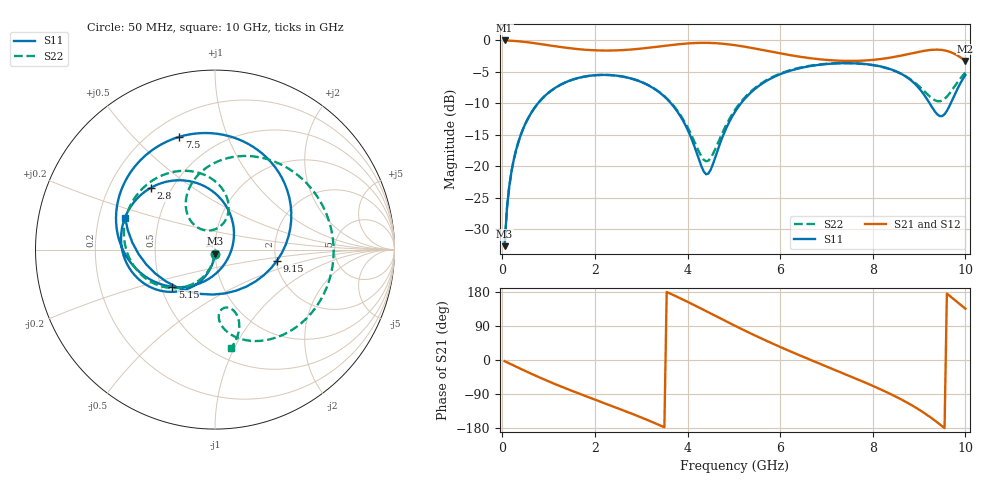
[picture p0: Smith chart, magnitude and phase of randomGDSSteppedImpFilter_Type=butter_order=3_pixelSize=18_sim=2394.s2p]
! freq	dB(S11)	phase(S11)	dB(S12)	phase(S12)
!  dB(S21)	phase(S21)	dB(S22)	phase(S22)
!S-par simulation data
#  GHz  S  DB  R 50
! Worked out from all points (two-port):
!   200 points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, 50 MHz to 10 GHz, reference 50 ohm
!   highest |S21| = -0.01 dB at 50 MHz (marker M1); lowest = -3.3 dB at 10 GHz (marker M2)
!   |S21| within 3 dB of the highest: start of sweep to 6.865 GHz; 8.117 GHz to 9.952 GHz (1.835 GHz wide, 20.3 % of centre)
!   lowest |S11| = -32.7 dB at 50 MHz (marker M3), VSWR 1.05, Z = 49.8 - j2.31 ohm
!   |S11| at or under -10 dB: start of sweep to 770.8 MHz; 3.643 GHz to 5.154 GHz (1.511 GHz wide, 34.4 % of centre); 9.229 GHz to 9.683 GHz (453.6 MHz wide, 4.8 % of centre)
!   |S22| runs from -32.7 to -3.6 dB; largest |S21 - S12| = 0
!   S11 on the Smith chart (normalised r, x): 50 MHz: 1.00, -0.05; 2.8 GHz: 0.38, +0.35; 5.15 GHz: 0.57, -0.26; 7.5 GHz: 0.31, +0.69; 9.15 GHz: 2.03, -0.29; 10 GHz: 0.31, +0.16
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0.05  -32.69 -92.8  -0.01 -3.0  -0.01 -3.0  -32.69 -93.2
0.1  -26.69 -95.8  -0.02 -6.0  -0.02 -6.0  -26.70 -96.5
0.2  -20.76 -101.6  -0.06 -11.9  -0.06 -11.9  -20.76 -102.9
0.5  -13.22 -118.1  -0.25 -29.2  -0.25 -29.2  -13.22 -121.3
1.1  -7.74 -148.6  -0.88 -61.5  -0.88 -61.5  -7.75 -155.5
1.75  -5.78 -178.0  -1.46 -92.9  -1.46 -92.9  -5.79 171.2
2.8  -6.09 136.0  -1.44 -141.8  -1.44 -141.8  -6.09 120.2
3.4  -8.30 105.3  -0.95 -172.3  -0.95 -172.3  -8.26 91.0
3.9  -12.72 71.0  -0.54 159.5  -0.54 159.5  -12.48 71.4
4.4  -21.27 -19.6  -0.39 129.1  -0.39 129.1  -19.21 98.5
4.75  -15.45 -102.8  -0.52 107.3  -0.52 107.3  -14.72 130.2
5.05  -11.07 -131.6  -0.78 88.8  -0.78 88.8  -10.77 124.2
5.15  -10.04 -138.8  -0.90 82.8  -0.90 82.8  -9.80 119.9
5.9  -5.69 178.6  -1.92 39.9  -1.92 39.9  -5.59 79.1
6.7  -4.02 142.4  -2.87 -1.9  -2.87 -1.9  -3.95 33.2
7.5  -3.62 107.5  -3.26 -42.2  -3.26 -42.2  -3.60 -11.1
8.35  -4.49 63.8  -2.77 -87.8  -2.77 -87.8  -4.53 -56.2
8.8  -6.19 30.8  -2.12 -116.4  -2.12 -116.4  -6.12 -77.6
9.15  -9.09 -10.1  -1.61 -143.0  -1.61 -143.0  -8.34 -86.8
9.45  -12.03 -77.5  -1.49 -170.0  -1.49 -170.0  -9.67 -78.9
9.6  -11.20 -121.9  -1.67 175.3  -1.67 175.3  -8.94 -72.8
10  -5.49 160.5  -3.28 135.4  -3.28 135.4  -5.10 -80.7
